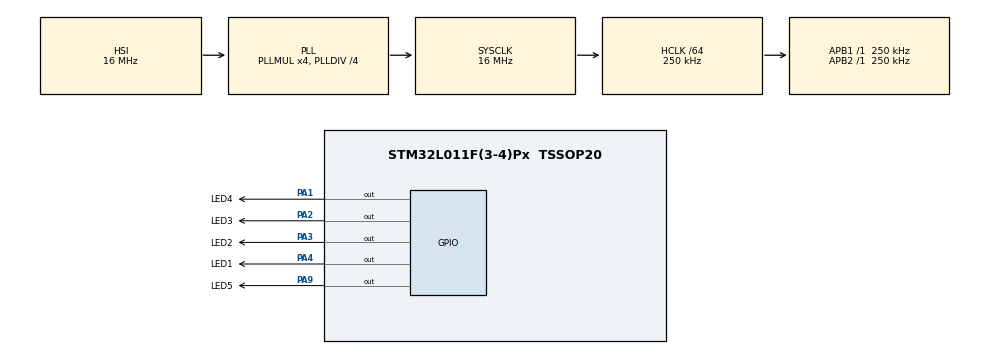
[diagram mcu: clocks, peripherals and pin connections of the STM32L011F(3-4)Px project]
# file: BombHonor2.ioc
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Mcu.Family=STM32L0
Mcu.Name=STM32L011F(3-4)Px
Mcu.Package=TSSOP20
PA0-CK_IN.GPIO_Label=ON
PA0-CK_IN.Mode=SYS_WakeUp0
PA0-CK_IN.Signal=SYS_WKUP1
PA1.GPIO_Label=LED4
PA1.Signal=GPIO_Output
PA13.Mode=Serial_Wire
PA13.Signal=SYS_SWDIO
PA14.Mode=Serial_Wire
PA14.Signal=SYS_SWCLK
PA2.GPIO_Label=LED3
PA2.Signal=GPIO_Output
PA3.GPIO_Label=LED2
PA3.Signal=GPIO_Output
PA4.GPIO_Label=LED1
PA4.Signal=GPIO_Output
PA9.GPIO_Label=LED5
PA9.Signal=GPIO_Output
ProjectManager.HeapSize=0x200
ProjectManager.StackSize=0x400
ProjectManager.TargetToolchain=STM32CubeIDE
RCC.AHBCLKDivider=RCC_SYSCLK_DIV64
RCC.AHBFreq_Value=250000
RCC.APB1Freq_Value=250000
RCC.APB1TimFreq_Value=250000
RCC.APB2Freq_Value=250000
RCC.APB2TimFreq_Value=250000
RCC.HCLKFreq_Value=250000
RCC.HSE_VALUE=8000000
RCC.HSI16_VALUE=16000000
RCC.HSI_VALUE=16000000
RCC.LSE_VALUE=32768
RCC.MSI_VALUE=2097000
RCC.PLLDIV=RCC_PLLDIV_4
RCC.PLLMUL=RCC_PLLMUL_4
RCC.SYSCLKFreq_VALUE=16000000
RCC.SYSCLKSource=RCC_SYSCLKSOURCE_PLLCLK
RCC.VCOOutputFreq_Value=64000000
board=custom

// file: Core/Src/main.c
/* USER CODE BEGIN Header */
/**
  ******************************************************************************
  * @file           : main.c
  * @brief          : Main program body
  ******************************************************************************
  * @attention
  *
  * <h2><center>&copy; Copyright (c) 2020 STMicroelectronics.
  * All rights reserved.</center></h2>
  *
  * This software component is licensed by ST under BSD 3-Clause license,
  * the "License"; You may not use this file except in compliance with the
  * License. You may obtain a copy of the License at:
  *                        opensource.org/licenses/BSD-3-Clause
  *
  ******************************************************************************
  */
/* USER CODE END Header */

#include "main.h"

void SystemClock_Config(void);
static void MX_GPIO_Init(void);
/* USER CODE BEGIN PFP */
void led1(GPIO_PinState state);
void led2(GPIO_PinState state);
void led3(GPIO_PinState state);
void led4(GPIO_PinState state);
void led5(GPIO_PinState state);
void wheel_cw(uint32_t delay);
void half_wheel_cw(uint32_t delay);
void wheel_ccw(uint32_t delay);
void half_wheel_ccw(uint32_t delay);
void onoff(uint32_t delay);
void delay_onoff(uint32_t delay);

void go_to_sleep();
/* USER CODE END PFP */

int main(void)
{

  /* MCU Configuration--------------------------------------------------------*/

  /* Reset of all peripherals, Initializes the Flash interface and the Systick. */
  HAL_Init();

  /* Configure the system clock */
  SystemClock_Config();

  /* Initialize all configured peripherals */
  MX_GPIO_Init();
  /* USER CODE BEGIN 2 */
  __HAL_RCC_PWR_CLK_ENABLE();
  /* USER CODE END 2 */

  /* Infinite loop */
  while (1)
  {

    /* USER CODE BEGIN 3 */
  	uint32_t delay1=50, delay2=600;
  	wheel_cw(delay1);
  	wheel_cw(delay1);
  	wheel_cw(delay1);
  	wheel_cw(delay1);
  	half_wheel_cw(delay1);
		delay_onoff(delay2);
		onoff(delay2);
		onoff(delay2);
		HAL_Delay(delay2);
		wheel_ccw(delay1);
		wheel_ccw(delay1);
		wheel_ccw(delay1);
		wheel_ccw(delay1);
		half_wheel_ccw(delay1);
		delay_onoff(delay2);
		onoff(delay2);
		onoff(delay2);
		HAL_Delay(delay2);

		go_to_sleep();

  }
  /* USER CODE END 3 */
}

void SystemClock_Config(void)
{
  RCC_OscInitTypeDef RCC_OscInitStruct = {0};
  RCC_ClkInitTypeDef RCC_ClkInitStruct = {0};

  /** Configure the main internal regulator output voltage
  */
  __HAL_PWR_VOLTAGESCALING_CONFIG(PWR_REGULATOR_VOLTAGE_SCALE1);
  /** Initializes the CPU, AHB and APB busses clocks
  */
  RCC_OscInitStruct.OscillatorType = RCC_OSCILLATORTYPE_HSI;
  RCC_OscInitStruct.HSIState = RCC_HSI_ON;
  RCC_OscInitStruct.HSICalibrationValue = RCC_HSICALIBRATION_DEFAULT;
  RCC_OscInitStruct.PLL.PLLState = RCC_PLL_ON;
  RCC_OscInitStruct.PLL.PLLSource = RCC_PLLSOURCE_HSI;
  RCC_OscInitStruct.PLL.PLLMUL = RCC_PLLMUL_4;
  RCC_OscInitStruct.PLL.PLLDIV = RCC_PLLDIV_4;
  if (HAL_RCC_OscConfig(&RCC_OscInitStruct) != HAL_OK)
  {
    Error_Handler();
  }
  /** Initializes the CPU, AHB and APB busses clocks
  */
  RCC_ClkInitStruct.ClockType = RCC_CLOCKTYPE_HCLK|RCC_CLOCKTYPE_SYSCLK
                              |RCC_CLOCKTYPE_PCLK1|RCC_CLOCKTYPE_PCLK2;
  RCC_ClkInitStruct.SYSCLKSource = RCC_SYSCLKSOURCE_PLLCLK;
  RCC_ClkInitStruct.AHBCLKDivider = RCC_SYSCLK_DIV64;
  RCC_ClkInitStruct.APB1CLKDivider = RCC_HCLK_DIV1;
  RCC_ClkInitStruct.APB2CLKDivider = RCC_HCLK_DIV1;

  if (HAL_RCC_ClockConfig(&RCC_ClkInitStruct, FLASH_LATENCY_0) != HAL_OK)
  {
    Error_Handler();
  }
}

static void MX_GPIO_Init(void)
{
  GPIO_InitTypeDef GPIO_InitStruct = {0};

  /* GPIO Ports Clock Enable */
  __HAL_RCC_GPIOC_CLK_ENABLE();
  __HAL_RCC_GPIOA_CLK_ENABLE();
  __HAL_RCC_GPIOB_CLK_ENABLE();

  /*Configure GPIO pin Output Level */
  HAL_GPIO_WritePin(GPIOA, LED4_Pin|LED3_Pin|LED2_Pin|LED1_Pin
                          |LED5_Pin, GPIO_PIN_RESET);

  /*Configure GPIO pins : PC14 PC15 */
  GPIO_InitStruct.Pin = GPIO_PIN_14|GPIO_PIN_15;
  GPIO_InitStruct.Mode = GPIO_MODE_ANALOG;
  GPIO_InitStruct.Pull = GPIO_NOPULL;
  HAL_GPIO_Init(GPIOC, &GPIO_InitStruct);

  /*Configure GPIO pins : LED4_Pin LED3_Pin LED2_Pin LED1_Pin
                           LED5_Pin */
  GPIO_InitStruct.Pin = LED4_Pin|LED3_Pin|LED2_Pin|LED1_Pin
                          |LED5_Pin;
  GPIO_InitStruct.Mode = GPIO_MODE_OUTPUT_PP;
  GPIO_InitStruct.Pull = GPIO_NOPULL;
  GPIO_InitStruct.Speed = GPIO_SPEED_FREQ_LOW;
  HAL_GPIO_Init(GPIOA, &GPIO_InitStruct);

  /*Configure GPIO pins : PA5 PA6 PA7 PA10 */
  GPIO_InitStruct.Pin = GPIO_PIN_5|GPIO_PIN_6|GPIO_PIN_7|GPIO_PIN_10;
  GPIO_InitStruct.Mode = GPIO_MODE_ANALOG;
  GPIO_InitStruct.Pull = GPIO_NOPULL;
  HAL_GPIO_Init(GPIOA, &GPIO_InitStruct);

  /*Configure GPIO pin : PB1 */
  GPIO_InitStruct.Pin = GPIO_PIN_1;
  GPIO_InitStruct.Mode = GPIO_MODE_ANALOG;
  GPIO_InitStruct.Pull = GPIO_NOPULL;
  HAL_GPIO_Init(GPIOB, &GPIO_InitStruct);

}

/* USER CODE BEGIN 4 */
void led1(GPIO_PinState state){
	HAL_GPIO_WritePin(LED1_GPIO_Port,LED1_Pin,state);
}

void led2(GPIO_PinState state){
	HAL_GPIO_WritePin(LED2_GPIO_Port,LED2_Pin,state);
}

void led3(GPIO_PinState state){
	HAL_GPIO_WritePin(LED3_GPIO_Port,LED3_Pin,state);
}

void led4(GPIO_PinState state){
	HAL_GPIO_WritePin(LED4_GPIO_Port,LED4_Pin,state);
}

void led5(GPIO_PinState state){
	HAL_GPIO_WritePin(LED5_GPIO_Port,LED5_Pin,state);
}

void wheel_cw(uint32_t delay){
	led1(1);
	HAL_Delay(delay);
	led2(1);
	HAL_Delay(delay);
	led3(1);
	HAL_Delay(delay);
	led4(1);
	HAL_Delay(delay);
	led5(1);
	HAL_Delay(delay);
	led1(0);
	HAL_Delay(delay);
	led2(0);
	HAL_Delay(delay);
	led3(0);
	HAL_Delay(delay);
	led4(0);
	HAL_Delay(delay);
	led5(0);
	HAL_Delay(delay);
}

void half_wheel_cw(uint32_t delay){
	led1(1);
	HAL_Delay(delay);
	led2(1);
	HAL_Delay(delay);
	led3(1);
	HAL_Delay(delay);
	led4(1);
	HAL_Delay(delay);
	led5(1);
	HAL_Delay(delay);
}

void wheel_ccw(uint32_t delay){
	led5(1);
	HAL_Delay(delay);
	led4(1);
	HAL_Delay(delay);
	led3(1);
	HAL_Delay(delay);
	led2(1);
	HAL_Delay(delay);
	led1(1);
	HAL_Delay(delay);
	led5(0);
	HAL_Delay(delay);
	led4(0);
	HAL_Delay(delay);
	led3(0);
	HAL_Delay(delay);
	led2(0);
	HAL_Delay(delay);
	led1(0);
	HAL_Delay(delay);
}

void half_wheel_ccw(uint32_t delay){
	led5(1);
	HAL_Delay(delay);
	led4(1);
	HAL_Delay(delay);
	led3(1);
	HAL_Delay(delay);
	led2(1);
	HAL_Delay(delay);
	led1(1);
	HAL_Delay(delay);
}

void onoff(uint32_t delay) {
	HAL_Delay(delay);
	led1(1);
	led2(1);
	led3(1);
	led4(1);
	led5(1);
	HAL_Delay(delay);
	led1(0);
	led2(0);
	led3(0);
	led4(0);
	led5(0);
}

void delay_onoff(uint32_t delay){
	HAL_Delay(delay);
	led1(0);
	led2(0);
	led3(0);
	led4(0);
	led5(0);
}

void go_to_sleep(){
	HAL_PWREx_EnableUltraLowPower();
	HAL_PWREx_EnableFastWakeUp();
	__HAL_PWR_CLEAR_FLAG(PWR_FLAG_SB);
	HAL_PWR_DisableWakeUpPin(PWR_WAKEUP_PIN1);
	__HAL_PWR_CLEAR_FLAG(PWR_FLAG_WU);
	HAL_PWR_EnableWakeUpPin(PWR_WAKEUP_PIN1);
	HAL_PWR_EnterSTANDBYMode();
}

/* USER CODE END 4 */

void Error_Handler(void)
{
}

/************************ (C) COPYRIGHT STMicroelectronics *****END OF FILE****/
